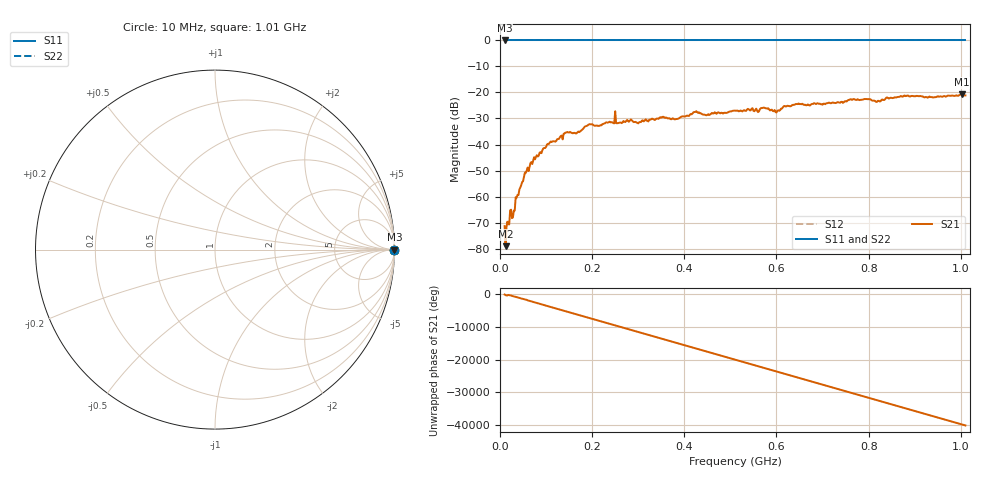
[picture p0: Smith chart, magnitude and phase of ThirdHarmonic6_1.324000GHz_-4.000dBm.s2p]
! 8/16/2025 2:44:29 PM
! C:\ANRITSUVNA\TEMP\TEMP.S2P
! CHANNEL.1
! TR.MEASUREMENT
! RAW.DATA
! RF.CORRECTION.OFF
! AVERAGING.OFF
! IF.BANDWIDTH: 5KHZ
! SWEEPTYPE:  FREQ.SWEEP(Linear)
! Reference Plane Port Info
! PORT:  PORT1  PORT2
! DISTANCE:  0  m  0  m
! TIME:  0  s  0  s
! PHASE.OFFSET:  0  deg.  0  deg.
! LOSS:  0  dB  0  dB
! REF.LOSS:  0  dB  0  dB
! REF.FREQ:  0  Hz  0  Hz
! Power Info
! POWER:  -20  dBm  -20  dBm
! EFF.POWER:  -20  dBm  -20  dBm
! SOURCE.ATTEN:  0  dB  0  dB
! TEST.ATTEN:  0  dB  0  dB
# GHZ S RI R 50.0
! FREQ.GHZ  S11RE  S11IM  S21RE  S21IM  S12RE  S12IM  S22RE  S22IM
!; PortSelection: Port_12
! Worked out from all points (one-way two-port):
!   501 points, 10 MHz to 1.01 GHz, reference 50 ohm
!   highest |S21| = -20.69 dB at 1.002 GHz (marker M1); lowest = -79.1 dB at 12 MHz (marker M2)
!   lowest |S11| = 0.0 dB at 10 MHz (marker M3)
!   |S11| at or under -10 dB: nowhere
!   |S22| runs from 0.0 to 0.0 dB; largest |S21 - S12| = 1.1
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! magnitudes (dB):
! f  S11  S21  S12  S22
! 10 MHz  0.0  -71.4  0.0  0.0
! 12 MHz  0.0  -79.1  0.0  0.0
! 16 MHz  0.0  -69.7  0.0  0.0
! 20 MHz  0.0  -70.7  0.0  0.0
! 30 MHz  0.0  -65.4  0.0  0.0
! 38 MHz  0.0  -59.4  0.0  0.0
! 56 MHz  0.0  -50.9  0.0  0.0
! 70 MHz  0.0  -47.5  0.0  0.0
! 106 MHz  0.0  -39.8  0.0  0.0
! 142 MHz  0.0  -35.4  0.0  0.0
! 178 MHz  0.0  -34.3  0.0  0.0
! 246 MHz  0.0  -31.8  0.0  0.0
! 300 MHz  0.0  -31.9  0.0  0.0
! 344 MHz  0.0  -30.1  0.0  0.0
! 510 MHz  0.0  -27.0  0.0  0.0
! 572 MHz  0.0  -25.8  0.0  0.0
! 602 MHz  0.0  -27.0  0.0  0.0
! 620 MHz  0.0  -25.4  0.0  0.0
! 678 MHz  0.0  -24.4  0.0  0.0
! 844 MHz  0.0  -22.3  0.0  0.0
! 1.002 GHz  0.0  -20.7  0.0  0.0
! 1.01 GHz  0.0  -21.2  0.0  0.0
